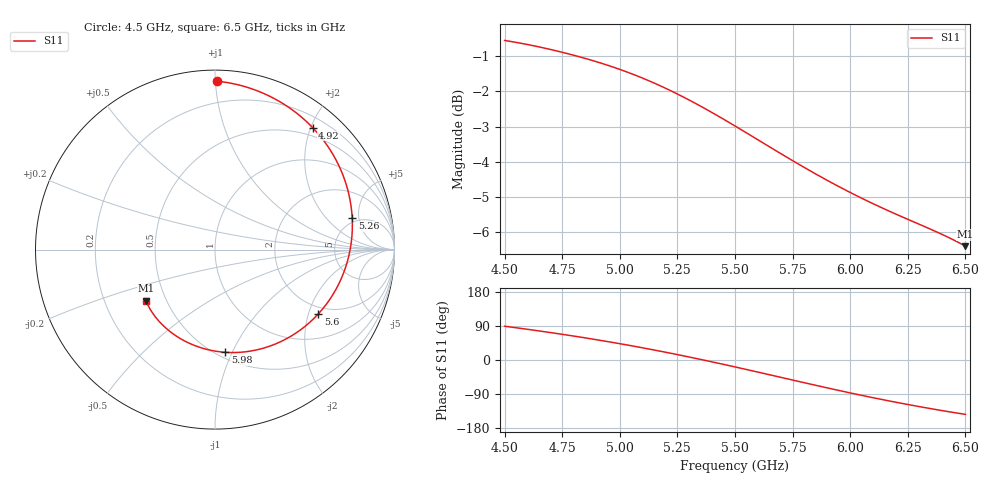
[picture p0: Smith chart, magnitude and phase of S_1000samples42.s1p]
! TOUCHSTONE file generated by CST MICROWAVE STUDIO
! Date and time: Wed Oct 26 19:20:59 2022
! Project name: L.cst
! Parameters = {Di=1.27; Epsilon_r=1.56; InnerDiameter=1.27; Length=2; Lf=10; Lg=60; OuterConductorThickness=0.2921; OuterDiameter=3.6; Wf=3; Wp=41.2; de=1.5; df=6.8; g=0.8; gx=3.4326; gy=3.24085; h=2.34; hf=1.524; px=12.5267; py=9.14827; w=9.7; wx=9.09414; wy=5.90742}
! Header version: 2018
! Port assignment regex: !\s*Touchstone port\s*([0-9]+)\s*=\s*(CST MWS port|CST DS port)\s*([0-9]+|Zmin|Zmax)\s*\(\"(.*)\"\)(\s*mode\s*([0-9]+))?.*
! Touchstone port assignment:
! Touchstone port 1 = CST MWS port 1 ("")
# GHz S DB R 50
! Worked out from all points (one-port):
!   101 points, 4.5 GHz to 6.5 GHz, reference 50 ohm
!   lowest |S11| = -6.4 dB at 6.5 GHz (marker M1), VSWR 2.84, Z = 19.3 - j14.3 ohm
!   |S11| at or under -10 dB: nowhere
!   S11 on the Smith chart (normalised r, x): 4.5 GHz: 0.06, +1.01; 4.92 GHz: 0.36, +2.03; 5.26 GHz: 4.44, +4.07; 5.6 GHz: 1.75, -2.32; 5.98 GHz: 0.55, -0.94; 6.5 GHz: 0.39, -0.29
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4.5  -0.56 89.2
4.58  -0.65 82.6
4.64  -0.73 77.5
4.76  -0.91 66.9
4.84  -1.05 59.3
4.92  -1.20 51.4
5  -1.38 43.0
5.08  -1.58 34.3
5.14  -1.74 27.4
5.2  -1.92 20.3
5.26  -2.11 13.0
5.32  -2.31 5.4
5.38  -2.53 -2.3
5.44  -2.75 -10.2
5.5  -2.98 -18.3
5.6  -3.38 -32.0
5.68  -3.69 -43.1
5.76  -4.01 -54.3
5.8  -4.16 -59.8
5.86  -4.38 -68.1
5.92  -4.60 -76.2
5.98  -4.80 -84.2
6  -4.87 -86.8
6.06  -5.07 -94.6
6.14  -5.31 -104.5
6.26  -5.66 -118.5
6.38  -6.01 -131.5
6.5  -6.40 -143.5
